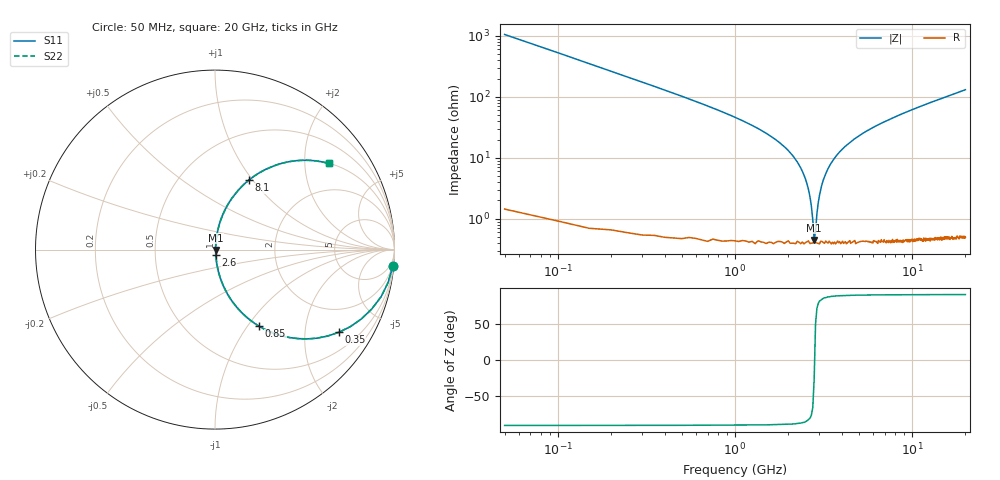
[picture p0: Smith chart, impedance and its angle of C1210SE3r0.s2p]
! AVX Thin Film Operation		Date: April 2012
! Description: Accu-P® Series, Thin Film, SMD, RF Capacitor
! Part Number: 12101J3R0QBTTR
!	100	MHz	-	20.05	GHz
!	Serial	Measurements
#	MHZ	S	MA	R	50
!	S11	S21	S12	S22
!	dB	Phase	dB	Phase	dB	Phase	dB	Phase
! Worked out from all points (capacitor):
!   400 points, 50 MHz to 20 GHz, reference 50 ohm
!   read as one part in series: C = 3 pF near 150 MHz
!   lowest |Z| = 448 mohm at 2.8 GHz (marker M1)
!   series resonance near 2.814 GHz, so ESL is about 1.1 nH
!   S11 on the Smith chart (normalised r, x): 50 MHz: 1, -21; 350 MHz: 1.01, -2.98; 850 MHz: 1.01, -1.13; 2.6 GHz: 1.01, -0.06; 8.1 GHz: 1.01, +0.95; 20 GHz: 1.01, +2.63
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50  0.995 -5.4  0.094 84.5  0.094 84.5  0.995 -5.4
150  0.962 -15.8  0.273 74.1  0.273 74.1  0.962 -15.8
350  0.829 -33.8  0.556 56.0  0.556 56.0  0.829 -33.8
850  0.492 -60.1  0.867 29.5  0.867 29.5  0.492 -60.1
1300  0.305 -71.5  0.949 17.7  0.949 17.7  0.305 -71.5
2100  0.111 -81.5  0.99 6.4  0.99 6.4  0.111 -81.5
2400  0.06 -82.7  0.994 3.4  0.994 3.4  0.06 -82.7
2600  0.03 -80.5  0.995 1.7  0.995 1.7  0.03 -80.5
2700  0.016 -74.4  0.996 0.9  0.996 0.9  0.016 -74.4
2800  0.004497 -25.0  0.996 0.1  0.996 0.1  0.004497 -25.0
2900  0.012 69.5  0.996 -0.6  0.996 -0.6  0.012 69.5
3000  0.024 79.0  0.996 -1.4  0.996 -1.4  0.024 79.0
3150  0.043 82.1  0.995 -2.4  0.995 -2.4  0.043 82.1
3400  0.071 82.6  0.993 -4.1  0.993 -4.1  0.071 82.6
3900  0.124 81.0  0.988 -7.1  0.988 -7.1  0.124 81.0
4600  0.189 77.9  0.978 -10.9  0.978 -10.9  0.189 77.9
6700  0.345 69.1  0.934 -20.2  0.934 -20.2  0.345 69.1
8100  0.429 64.1  0.899 -25.4  0.899 -25.4  0.429 64.1
10050  0.526 57.9  0.847 -31.7  0.847 -31.7  0.526 57.9
13350  0.648 49.3  0.758 -40.4  0.758 -40.4  0.648 49.3
16700  0.734 42.5  0.676 -47.2  0.676 -47.2  0.734 42.5
20000  0.794 37.2  0.605 -52.6  0.605 -52.6  0.794 37.2
